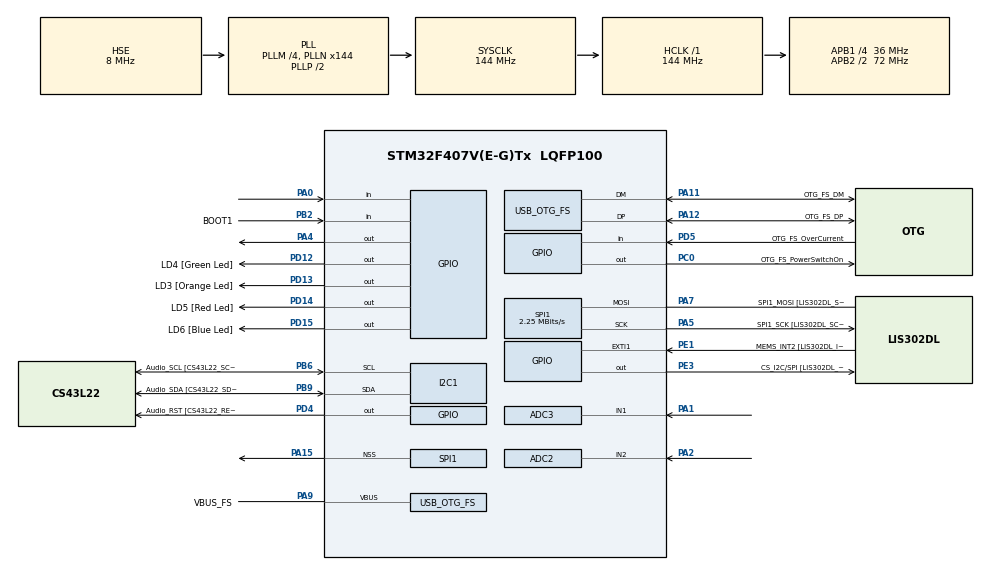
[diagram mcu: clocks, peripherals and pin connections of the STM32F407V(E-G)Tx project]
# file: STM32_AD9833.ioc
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ADC2.Channel-1\#ChannelRegularConversion=ADC_CHANNEL_2
ADC2.DMAContinuousRequests=ENABLE
ADC2.ExternalTrigConv=ADC_EXTERNALTRIGCONV_T8_CC1
ADC2.NbrOfConversionFlag=1
ADC2.Rank-1\#ChannelRegularConversion=1
ADC2.SamplingTime-1\#ChannelRegularConversion=ADC_SAMPLETIME_3CYCLES
ADC3.Channel-1\#ChannelRegularConversion=ADC_CHANNEL_1
ADC3.DMAContinuousRequests=ENABLE
ADC3.ExternalTrigConv=ADC_EXTERNALTRIGCONV_T1_CC1
ADC3.NbrOfConversionFlag=1
ADC3.Rank-1\#ChannelRegularConversion=1
ADC3.SamplingTime-1\#ChannelRegularConversion=ADC_SAMPLETIME_3CYCLES
Dma.ADC2.0.Direction=DMA_PERIPH_TO_MEMORY
Dma.ADC2.0.FIFOMode=DMA_FIFOMODE_DISABLE
Dma.ADC2.0.Instance=DMA2_Stream2
Dma.ADC2.0.MemDataAlignment=DMA_MDATAALIGN_HALFWORD
Dma.ADC2.0.MemInc=DMA_MINC_ENABLE
Dma.ADC2.0.Mode=DMA_NORMAL
Dma.ADC2.0.PeriphDataAlignment=DMA_PDATAALIGN_HALFWORD
Dma.ADC2.0.PeriphInc=DMA_PINC_DISABLE
Dma.ADC2.0.Priority=DMA_PRIORITY_VERY_HIGH
Dma.ADC3.1.Direction=DMA_PERIPH_TO_MEMORY
Dma.ADC3.1.FIFOMode=DMA_FIFOMODE_DISABLE
Dma.ADC3.1.Instance=DMA2_Stream0
Dma.ADC3.1.MemDataAlignment=DMA_MDATAALIGN_HALFWORD
Dma.ADC3.1.MemInc=DMA_MINC_ENABLE
Dma.ADC3.1.Mode=DMA_NORMAL
Dma.ADC3.1.PeriphDataAlignment=DMA_PDATAALIGN_HALFWORD
Dma.ADC3.1.PeriphInc=DMA_PINC_DISABLE
Dma.ADC3.1.Priority=DMA_PRIORITY_VERY_HIGH
Dma.Request0=ADC2
Dma.Request1=ADC3
Mcu.Family=STM32F4
Mcu.Name=STM32F407V(E-G)Tx
Mcu.Package=LQFP100
NVIC.DMA2_Stream0_IRQn=true\:0\:0\:false\:false\:true\:false\:true\:true
NVIC.DMA2_Stream2_IRQn=true\:0\:0\:false\:false\:true\:false\:true\:true
NVIC.OTG_FS_IRQn=true\:0\:0\:false\:false\:true\:true\:true\:true
NVIC.PriorityGroup=NVIC_PRIORITYGROUP_0
PA0-WKUP.GPIO_PuPd=GPIO_PULLDOWN
PA0-WKUP.Signal=GPIO_Input
PA1.Signal=ADCx_IN1
PA10.GPIO_Label=OTG_FS_ID
PA10.GPIO_Mode=GPIO_MODE_AF_PP
PA10.GPIO_PuPd=GPIO_NOPULL
PA10.GPIO_Speed=GPIO_SPEED_FREQ_LOW
PA10.Signal=USB_OTG_FS_ID
PA11.GPIO_Label=OTG_FS_DM
PA11.GPIO_Mode=GPIO_MODE_AF_PP
PA11.GPIO_PuPd=GPIO_NOPULL
PA11.GPIO_Speed=GPIO_SPEED_FREQ_LOW
PA11.Mode=Device_Only
PA11.Signal=USB_OTG_FS_DM
PA12.GPIO_Label=OTG_FS_DP
PA12.GPIO_Mode=GPIO_MODE_AF_PP
PA12.GPIO_PuPd=GPIO_NOPULL
PA12.GPIO_Speed=GPIO_SPEED_FREQ_LOW
PA12.Mode=Device_Only
PA12.Signal=USB_OTG_FS_DP
PA13.GPIO_Label=SWDIO
PA13.Mode=Serial_Wire
PA13.Signal=SYS_JTMS-SWDIO
PA14.GPIO_Label=SWCLK
PA14.Mode=Serial_Wire
PA14.Signal=SYS_JTCK-SWCLK
PA15.GPIO_PuPd=GPIO_PULLUP
PA15.Mode=NSS_Signal_Hard_Output
PA15.Signal=SPI1_NSS
PA2.Signal=ADCx_IN2
PA4.Signal=GPIO_Output
PA5.GPIO_Label=SPI1_SCK [LIS302DL_SCL/SPC]
PA5.GPIO_Mode=GPIO_MODE_AF_PP
PA5.GPIO_PuPd=GPIO_PULLUP
PA5.GPIO_Speed=GPIO_SPEED_FREQ_VERY_HIGH
PA5.Mode=Simplex_Bidirectional_Master
PA5.Signal=SPI1_SCK
PA6.Signal=SPI1_MISO
PA7.GPIO_Label=SPI1_MOSI [LIS302DL_SDA/SDI/SDO]
PA7.GPIO_Mode=GPIO_MODE_AF_PP
PA7.GPIO_PuPd=GPIO_PULLUP
PA7.GPIO_Speed=GPIO_SPEED_FREQ_VERY_HIGH
PA7.Mode=Simplex_Bidirectional_Master
PA7.Signal=SPI1_MOSI
PA9.GPIO_Label=VBUS_FS
PA9.GPIO_Mode=GPIO_MODE_INPUT
PA9.GPIO_PuPd=GPIO_NOPULL
PA9.Mode=Activate_VBUS
PA9.Signal=USB_OTG_FS_VBUS
PB10.GPIO_Label=CLK_IN [MP45DT02_CLK]
PB10.GPIO_Mode=GPIO_MODE_AF_PP
PB10.GPIO_PuPd=GPIO_NOPULL
PB10.GPIO_Speed=GPIO_SPEED_FREQ_LOW
PB10.Signal=I2S2_CK
PB2.GPIO_Label=BOOT1
PB2.GPIO_Mode=GPIO_MODE_INPUT
PB2.GPIO_PuPd=GPIO_NOPULL
PB2.Signal=GPIO_Input
PB3.GPIO_Label=SWO
PB3.Signal=SYS_JTDO-SWO
PB6.GPIO_Label=Audio_SCL [CS43L22_SCL]
PB6.GPIO_Mode=GPIO_MODE_AF_OD
PB6.GPIO_Pu=GPIO_PULLUP
PB6.GPIO_PuPd=GPIO_NOPULL
PB6.GPIO_Speed=GPIO_SPEED_FREQ_LOW
PB6.Mode=I2C
PB6.Signal=I2C1_SCL
PB9.GPIO_Label=Audio_SDA [CS43L22_SDA]
PB9.GPIO_Mode=GPIO_MODE_AF_OD
PB9.GPIO_Pu=GPIO_PULLUP
PB9.GPIO_PuPd=GPIO_NOPULL
PB9.GPIO_Speed=GPIO_SPEED_FREQ_LOW
PB9.Mode=I2C
PB9.Signal=I2C1_SDA
PC0.GPIO_Label=OTG_FS_PowerSwitchOn
PC0.GPIO_PuPd=GPIO_NOPULL
PC0.GPIO_Speed=GPIO_SPEED_FREQ_LOW
PC0.PinState=GPIO_PIN_SET
PC0.Signal=GPIO_Output
PC10.GPIO_Label=I2S3_SCK [CS43L22_SCLK]
PC10.GPIO_Mode=GPIO_MODE_AF_PP
PC10.GPIO_PuPd=GPIO_NOPULL
PC10.GPIO_Speed=GPIO_SPEED_FREQ_LOW
PC10.Signal=I2S3_CK
PC12.GPIO_Label=I2S3_SD [CS43L22_SDIN]
PC12.GPIO_Mode=GPIO_MODE_AF_PP
PC12.GPIO_PuPd=GPIO_NOPULL
PC12.GPIO_Speed=GPIO_SPEED_FREQ_LOW
PC12.Signal=I2S3_SD
PC14-OSC32_IN.GPIO_Label=PC14-OSC32_IN
PC14-OSC32_IN.Mode=LSE-External-Oscillator
PC14-OSC32_IN.Signal=RCC_OSC32_IN
PC15-OSC32_OUT.GPIO_Label=PC15-OSC32_OUT
PC15-OSC32_OUT.Mode=LSE-External-Oscillator
PC15-OSC32_OUT.Signal=RCC_OSC32_OUT
PC3.GPIO_Label=PDM_OUT [MP45DT02_DOUT]
PC3.GPIO_Mode=GPIO_MODE_AF_PP
PC3.GPIO_PuPd=GPIO_NOPULL
PC3.GPIO_Speed=GPIO_SPEED_FREQ_LOW
PC3.Signal=I2S2_SD
PC7.GPIO_Label=I2S3_MCK [CS43L22_MCLK]
PC7.GPIO_Mode=GPIO_MODE_AF_PP
PC7.GPIO_PuPd=GPIO_NOPULL
PC7.GPIO_Speed=GPIO_SPEED_FREQ_LOW
PC7.Signal=I2S3_MCK
PD12.GPIO_Label=LD4 [Green Led]
PD12.GPIO_PuPd=GPIO_NOPULL
PD12.GPIO_Speed=GPIO_SPEED_FREQ_LOW
PD12.Signal=GPIO_Output
PD13.GPIO_Label=LD3 [Orange Led]
PD13.GPIO_PuPd=GPIO_NOPULL
PD13.GPIO_Speed=GPIO_SPEED_FREQ_LOW
PD13.Signal=GPIO_Output
PD14.GPIO_Label=LD5 [Red Led]
PD14.GPIO_PuPd=GPIO_NOPULL
PD14.GPIO_Speed=GPIO_SPEED_FREQ_LOW
PD14.Signal=GPIO_Output
PD15.GPIO_Label=LD6 [Blue Led]
PD15.GPIO_PuPd=GPIO_NOPULL
PD15.GPIO_Speed=GPIO_SPEED_FREQ_LOW
PD15.Signal=GPIO_Output
PD4.GPIO_Label=Audio_RST [CS43L22_RESET]
PD4.GPIO_PuPd=GPIO_NOPULL
PD4.GPIO_Speed=GPIO_SPEED_FREQ_LOW
PD4.Signal=GPIO_Output
PD5.GPIO_Label=OTG_FS_OverCurrent
PD5.GPIO_Mode=GPIO_MODE_INPUT
PD5.GPIO_PuPd=GPIO_NOPULL
PD5.Signal=GPIO_Input
PE1.GPIO_Label=MEMS_INT2 [LIS302DL_INT2]
PE1.GPIO_ModeDefaultEXTI=GPIO_MODE_EVT_RISING
PE1.GPIO_PuPd=GPIO_NOPULL
PE1.Signal=GPXTI1
PE3.GPIO_Label=CS_I2C/SPI [LIS302DL_CS_I2C/SPI]
PE3.GPIO_PuPd=GPIO_NOPULL
PE3.GPIO_Speed=GPIO_SPEED_FREQ_LOW
PE3.Signal=GPIO_Output
PH0-OSC_IN.GPIO_Label=PH0-OSC_IN
PH0-OSC_IN.Mode=HSE-External-Oscillator
PH0-OSC_IN.Signal=RCC_OSC_IN
PH1-OSC_OUT.GPIO_Label=PH1-OSC_OUT
PH1-OSC_OUT.Mode=HSE-External-Oscillator
PH1-OSC_OUT.Signal=RCC_OSC_OUT
ProjectManager.HeapSize=0x200
ProjectManager.StackSize=0x400
ProjectManager.TargetToolchain=STM32CubeIDE
RCC.48MHZClocksFreq_Value=48000000
RCC.AHBFreq_Value=144000000
RCC.APB1CLKDivider=RCC_HCLK_DIV4
RCC.APB1Freq_Value=36000000
RCC.APB1TimFreq_Value=72000000
RCC.APB2CLKDivider=RCC_HCLK_DIV2
RCC.APB2Freq_Value=72000000
RCC.APB2TimFreq_Value=144000000
RCC.CortexFreq_Value=144000000
RCC.DATA_CACHE_ENABLE=0
RCC.HCLKFreq_Value=144000000
RCC.HSE_VALUE=8000000
RCC.HSI_VALUE=16000000
RCC.PLLM=4
RCC.PLLN=144
RCC.PLLQ=6
RCC.SYSCLKFreq_VALUE=144000000
RCC.SYSCLKSource=RCC_SYSCLKSOURCE_PLLCLK
RCC.VCOOutputFreq_Value=288000000
SH.ADCx_IN1.0=ADC3_IN1,IN1
SH.ADCx_IN2.0=ADC2_IN2,IN2
SPI1.BaudRatePrescaler=SPI_BAUDRATEPRESCALER_32
SPI1.CLKPhase=SPI_PHASE_1EDGE
SPI1.CLKPolarity=SPI_POLARITY_HIGH
SPI1.CalculateBaudRate=2.25 MBits/s
SPI1.DataSize=SPI_DATASIZE_16BIT
SPI1.Direction=SPI_DIRECTION_1LINE
SPI1.Mode=SPI_MODE_MASTER
SPI1.VirtualNSS=VM_NSSHARD
SPI1.VirtualType=VM_MASTER
TIM1.Channel-PWM\ Generation1\ No\ Output=TIM_CHANNEL_1
TIM1.Pulse-PWM\ Generation1\ No\ Output=1
TIM1.TIM_MasterOutputTrigger=TIM_TRGO_OC1REF
TIM8.Channel-PWM\ Generation1\ No\ Output=TIM_CHANNEL_1
TIM8.Pulse-PWM\ Generation1\ No\ Output=1
TIM8.TIM_MasterOutputTrigger=TIM_TRGO_OC1REF
USB_DEVICE.CLASS_NAME_FS=CDC
USB_DEVICE.VirtualMode-CDC_FS=Cdc
USB_DEVICE.VirtualModeFS=Cdc_FS
USB_OTG_FS.VirtualMode=Device_Only
VP_TIM1_VS_no_output1.Mode=PWM Generation1 No Output
VP_TIM8_VS_no_output1.Mode=PWM Generation1 No Output
VP_USB_DEVICE_VS_USB_DEVICE_CDC_FS.Mode=CDC_FS
board=STM32F407G-DISC1

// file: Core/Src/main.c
/* USER CODE BEGIN Header */
/**
  ******************************************************************************
  * @file           : main.c
  * @brief          : Main program body
  ******************************************************************************
  * @attention
  *
  * Copyright (c) 2026 STMicroelectronics.
  * All rights reserved.
  *
  * This software is licensed under terms that can be found in the LICENSE file
  * in the root directory of this software component.
  * If no LICENSE file comes with this software, it is provided AS-IS.
  *
  ******************************************************************************
  */
/* USER CODE END Header */
#include "main.h"
#include "usb_device.h"

/* USER CODE BEGIN Includes */
#include "AD9833.h"
#include <stdbool.h>
#include <string.h>
#include "usbd_cdc_if.h"
#include <math.h>
#include "stm32_protocol.h"
/* USER CODE END Includes */

ADC_HandleTypeDef hadc2;
ADC_HandleTypeDef hadc3;
DMA_HandleTypeDef hdma_adc2;
DMA_HandleTypeDef hdma_adc3;

I2C_HandleTypeDef hi2c1;

SPI_HandleTypeDef hspi1;

TIM_HandleTypeDef htim1;
TIM_HandleTypeDef htim8;

/* USER CODE BEGIN PV */
uint16_t adcBuffer[ADC_BUFFER_SIZE];
__attribute__((section(".ccmram"))) float adcFloatBuffer[ADC_BUFFER_SIZE];

// Filtre girişinden alınan ölçümler
//uint16_t adcVinBuffer[ADC_BUFFER_SIZE];
//__attribute__((section(".ccmram"))) float adcFloatVin[ADC_BUFFER_SIZE];

static volatile bool isAdcVinCmplt = false;
static volatile bool isAdcError = false;

// Filtre çıkışından alınan ölçümler
//uint16_t adcVoutBuffer[ADC_BUFFER_SIZE];
//__attribute__((section(".ccmram"))) float adcFloatVout[ADC_BUFFER_SIZE];
static volatile bool isAdcVoutCmplt = false;

float vinRms = 0;
float voutRms = 0;

bool isVinRmsReady = false;
bool isVoutRmsReady = false;

/* USER CODE END PV */

void SystemClock_Config(void);
static void MX_GPIO_Init(void);
static void MX_DMA_Init(void);
static void MX_I2C1_Init(void);
static void MX_SPI1_Init(void);
static void MX_ADC2_Init(void);
static void MX_TIM1_Init(void);
static void MX_TIM8_Init(void);
static void MX_ADC3_Init(void);
/* USER CODE BEGIN PFP */
static float CalculateRms(float *pData, uint32_t size);
static void StopMeasurement(void);
/* USER CODE END PFP */

int main(void)
{

  /* MCU Configuration--------------------------------------------------------*/

  /* Reset of all peripherals, Initializes the Flash interface and the Systick. */
  HAL_Init();

  /* Configure the system clock */
  SystemClock_Config();

  /* Initialize all configured peripherals */
  MX_GPIO_Init();
  MX_DMA_Init();
  MX_I2C1_Init();
  MX_SPI1_Init();
  MX_USB_DEVICE_Init();
  MX_ADC2_Init();
  MX_TIM1_Init();
  MX_TIM8_Init();
  MX_ADC3_Init();
  /* USER CODE BEGIN 2 */
  AD9833_Init(SINE_WAVE);
  /* USER CODE END 2 */

  /* Infinite loop */
  /* USER CODE BEGIN WHILE */

  while (1)
  {
	  proto_process();

	  if(isAdcVinCmplt){
		  HAL_GPIO_TogglePin(LD5_GPIO_Port, LD5_Pin);
		  for(uint32_t i = 0; i < ADC_BUFFER_SIZE; i++){
			  adcFloatBuffer[i] = adcBuffer[i];
		  }
		  vinRms = CalculateRms(adcFloatBuffer, ADC_BUFFER_SIZE);
		  isVinRmsReady = true;
		  isAdcVinCmplt = false;
		  HAL_Delay(100);
		  HAL_ADC_Start_DMA(&hadc2, (uint32_t*)adcBuffer, ADC_BUFFER_SIZE);
		  HAL_TIM_PWM_Start(&htim8, TIM_CHANNEL_1);
	  }

	  if(isAdcVoutCmplt){
		  HAL_GPIO_TogglePin(LD4_GPIO_Port, LD4_Pin);
		  for(uint32_t i = 0; i < ADC_BUFFER_SIZE; i++){
			  adcFloatBuffer[i] = adcBuffer[i];
		  }
		  voutRms = CalculateRms(adcFloatBuffer, ADC_BUFFER_SIZE);
		  isVoutRmsReady = true;
		  isAdcVoutCmplt = false;
		  HAL_Delay(100);
	  }

	  if(isVinRmsReady && isVoutRmsReady){
		  proto_send_results(vinRms, voutRms);
		  isVinRmsReady = false;
		  isVoutRmsReady = false;
		  vinRms = 0;
		  voutRms = 0;
	  }

    /* USER CODE END WHILE */

  }
}

void SystemClock_Config(void)
{
  RCC_OscInitTypeDef RCC_OscInitStruct = {0};
  RCC_ClkInitTypeDef RCC_ClkInitStruct = {0};

  /** Configure the main internal regulator output voltage
  */
  __HAL_RCC_PWR_CLK_ENABLE();
  __HAL_PWR_VOLTAGESCALING_CONFIG(PWR_REGULATOR_VOLTAGE_SCALE1);

  /** Initializes the RCC Oscillators according to the specified parameters
  * in the RCC_OscInitTypeDef structure.
  */
  RCC_OscInitStruct.OscillatorType = RCC_OSCILLATORTYPE_HSE;
  RCC_OscInitStruct.HSEState = RCC_HSE_ON;
  RCC_OscInitStruct.PLL.PLLState = RCC_PLL_ON;
  RCC_OscInitStruct.PLL.PLLSource = RCC_PLLSOURCE_HSE;
  RCC_OscInitStruct.PLL.PLLM = 4;
  RCC_OscInitStruct.PLL.PLLN = 144;
  RCC_OscInitStruct.PLL.PLLP = RCC_PLLP_DIV2;
  RCC_OscInitStruct.PLL.PLLQ = 6;
  if (HAL_RCC_OscConfig(&RCC_OscInitStruct) != HAL_OK)
  {
    Error_Handler();
  }

  /** Initializes the CPU, AHB and APB buses clocks
  */
  RCC_ClkInitStruct.ClockType = RCC_CLOCKTYPE_HCLK|RCC_CLOCKTYPE_SYSCLK
                              |RCC_CLOCKTYPE_PCLK1|RCC_CLOCKTYPE_PCLK2;
  RCC_ClkInitStruct.SYSCLKSource = RCC_SYSCLKSOURCE_PLLCLK;
  RCC_ClkInitStruct.AHBCLKDivider = RCC_SYSCLK_DIV1;
  RCC_ClkInitStruct.APB1CLKDivider = RCC_HCLK_DIV4;
  RCC_ClkInitStruct.APB2CLKDivider = RCC_HCLK_DIV2;

  if (HAL_RCC_ClockConfig(&RCC_ClkInitStruct, FLASH_LATENCY_4) != HAL_OK)
  {
    Error_Handler();
  }
}

static void MX_ADC2_Init(void)
{

  ADC_ChannelConfTypeDef sConfig = {0};

  /** Configure the global features of the ADC (Clock, Resolution, Data Alignment and number of conversion)
  */
  hadc2.Instance = ADC2;
  hadc2.Init.ClockPrescaler = ADC_CLOCK_SYNC_PCLK_DIV2;
  hadc2.Init.Resolution = ADC_RESOLUTION_12B;
  hadc2.Init.ScanConvMode = DISABLE;
  hadc2.Init.ContinuousConvMode = DISABLE;
  hadc2.Init.DiscontinuousConvMode = DISABLE;
  hadc2.Init.ExternalTrigConvEdge = ADC_EXTERNALTRIGCONVEDGE_RISING;
  hadc2.Init.ExternalTrigConv = ADC_EXTERNALTRIGCONV_T8_CC1;
  hadc2.Init.DataAlign = ADC_DATAALIGN_RIGHT;
  hadc2.Init.NbrOfConversion = 1;
  hadc2.Init.DMAContinuousRequests = ENABLE;
  hadc2.Init.EOCSelection = ADC_EOC_SINGLE_CONV;
  if (HAL_ADC_Init(&hadc2) != HAL_OK)
  {
    Error_Handler();
  }

  /** Configure for the selected ADC regular channel its corresponding rank in the sequencer and its sample time.
  */
  sConfig.Channel = ADC_CHANNEL_2;
  sConfig.Rank = 1;
  sConfig.SamplingTime = ADC_SAMPLETIME_3CYCLES;
  if (HAL_ADC_ConfigChannel(&hadc2, &sConfig) != HAL_OK)
  {
    Error_Handler();
  }

}

static void MX_ADC3_Init(void)
{

  ADC_ChannelConfTypeDef sConfig = {0};

  /** Configure the global features of the ADC (Clock, Resolution, Data Alignment and number of conversion)
  */
  hadc3.Instance = ADC3;
  hadc3.Init.ClockPrescaler = ADC_CLOCK_SYNC_PCLK_DIV2;
  hadc3.Init.Resolution = ADC_RESOLUTION_12B;
  hadc3.Init.ScanConvMode = DISABLE;
  hadc3.Init.ContinuousConvMode = DISABLE;
  hadc3.Init.DiscontinuousConvMode = DISABLE;
  hadc3.Init.ExternalTrigConvEdge = ADC_EXTERNALTRIGCONVEDGE_RISING;
  hadc3.Init.ExternalTrigConv = ADC_EXTERNALTRIGCONV_T1_CC1;
  hadc3.Init.DataAlign = ADC_DATAALIGN_RIGHT;
  hadc3.Init.NbrOfConversion = 1;
  hadc3.Init.DMAContinuousRequests = ENABLE;
  hadc3.Init.EOCSelection = ADC_EOC_SINGLE_CONV;
  if (HAL_ADC_Init(&hadc3) != HAL_OK)
  {
    Error_Handler();
  }

  /** Configure for the selected ADC regular channel its corresponding rank in the sequencer and its sample time.
  */
  sConfig.Channel = ADC_CHANNEL_1;
  sConfig.Rank = 1;
  sConfig.SamplingTime = ADC_SAMPLETIME_3CYCLES;
  if (HAL_ADC_ConfigChannel(&hadc3, &sConfig) != HAL_OK)
  {
    Error_Handler();
  }

}

static void MX_I2C1_Init(void)
{

  hi2c1.Instance = I2C1;
  hi2c1.Init.ClockSpeed = 100000;
  hi2c1.Init.DutyCycle = I2C_DUTYCYCLE_2;
  hi2c1.Init.OwnAddress1 = 0;
  hi2c1.Init.AddressingMode = I2C_ADDRESSINGMODE_7BIT;
  hi2c1.Init.DualAddressMode = I2C_DUALADDRESS_DISABLE;
  hi2c1.Init.OwnAddress2 = 0;
  hi2c1.Init.GeneralCallMode = I2C_GENERALCALL_DISABLE;
  hi2c1.Init.NoStretchMode = I2C_NOSTRETCH_DISABLE;
  if (HAL_I2C_Init(&hi2c1) != HAL_OK)
  {
    Error_Handler();
  }

}

static void MX_SPI1_Init(void)
{

  /* SPI1 parameter configuration*/
  hspi1.Instance = SPI1;
  hspi1.Init.Mode = SPI_MODE_MASTER;
  hspi1.Init.Direction = SPI_DIRECTION_1LINE;
  hspi1.Init.DataSize = SPI_DATASIZE_16BIT;
  hspi1.Init.CLKPolarity = SPI_POLARITY_HIGH;
  hspi1.Init.CLKPhase = SPI_PHASE_1EDGE;
  hspi1.Init.NSS = SPI_NSS_HARD_OUTPUT;
  hspi1.Init.BaudRatePrescaler = SPI_BAUDRATEPRESCALER_32;
  hspi1.Init.FirstBit = SPI_FIRSTBIT_MSB;
  hspi1.Init.TIMode = SPI_TIMODE_DISABLE;
  hspi1.Init.CRCCalculation = SPI_CRCCALCULATION_DISABLE;
  hspi1.Init.CRCPolynomial = 10;
  if (HAL_SPI_Init(&hspi1) != HAL_OK)
  {
    Error_Handler();
  }

}

static void MX_TIM1_Init(void)
{

  TIM_MasterConfigTypeDef sMasterConfig = {0};
  TIM_OC_InitTypeDef sConfigOC = {0};
  TIM_BreakDeadTimeConfigTypeDef sBreakDeadTimeConfig = {0};

  htim1.Instance = TIM1;
  htim1.Init.Prescaler = 0;
  htim1.Init.CounterMode = TIM_COUNTERMODE_UP;
  htim1.Init.Period = 65535;
  htim1.Init.ClockDivision = TIM_CLOCKDIVISION_DIV1;
  htim1.Init.RepetitionCounter = 0;
  htim1.Init.AutoReloadPreload = TIM_AUTORELOAD_PRELOAD_DISABLE;
  if (HAL_TIM_PWM_Init(&htim1) != HAL_OK)
  {
    Error_Handler();
  }
  sMasterConfig.MasterOutputTrigger = TIM_TRGO_OC1REF;
  sMasterConfig.MasterSlaveMode = TIM_MASTERSLAVEMODE_DISABLE;
  if (HAL_TIMEx_MasterConfigSynchronization(&htim1, &sMasterConfig) != HAL_OK)
  {
    Error_Handler();
  }
  sConfigOC.OCMode = TIM_OCMODE_PWM1;
  sConfigOC.Pulse = 1;
  sConfigOC.OCPolarity = TIM_OCPOLARITY_HIGH;
  sConfigOC.OCNPolarity = TIM_OCNPOLARITY_HIGH;
  sConfigOC.OCFastMode = TIM_OCFAST_DISABLE;
  sConfigOC.OCIdleState = TIM_OCIDLESTATE_RESET;
  sConfigOC.OCNIdleState = TIM_OCNIDLESTATE_RESET;
  if (HAL_TIM_PWM_ConfigChannel(&htim1, &sConfigOC, TIM_CHANNEL_1) != HAL_OK)
  {
    Error_Handler();
  }
  sBreakDeadTimeConfig.OffStateRunMode = TIM_OSSR_DISABLE;
  sBreakDeadTimeConfig.OffStateIDLEMode = TIM_OSSI_DISABLE;
  sBreakDeadTimeConfig.LockLevel = TIM_LOCKLEVEL_OFF;
  sBreakDeadTimeConfig.DeadTime = 0;
  sBreakDeadTimeConfig.BreakState = TIM_BREAK_DISABLE;
  sBreakDeadTimeConfig.BreakPolarity = TIM_BREAKPOLARITY_HIGH;
  sBreakDeadTimeConfig.AutomaticOutput = TIM_AUTOMATICOUTPUT_DISABLE;
  if (HAL_TIMEx_ConfigBreakDeadTime(&htim1, &sBreakDeadTimeConfig) != HAL_OK)
  {
    Error_Handler();
  }

}

static void MX_TIM8_Init(void)
{

  TIM_MasterConfigTypeDef sMasterConfig = {0};
  TIM_OC_InitTypeDef sConfigOC = {0};
  TIM_BreakDeadTimeConfigTypeDef sBreakDeadTimeConfig = {0};

  htim8.Instance = TIM8;
  htim8.Init.Prescaler = 0;
  htim8.Init.CounterMode = TIM_COUNTERMODE_UP;
  htim8.Init.Period = 65535;
  htim8.Init.ClockDivision = TIM_CLOCKDIVISION_DIV1;
  htim8.Init.RepetitionCounter = 0;
  htim8.Init.AutoReloadPreload = TIM_AUTORELOAD_PRELOAD_DISABLE;
  if (HAL_TIM_PWM_Init(&htim8) != HAL_OK)
  {
    Error_Handler();
  }
  sMasterConfig.MasterOutputTrigger = TIM_TRGO_OC1REF;
  sMasterConfig.MasterSlaveMode = TIM_MASTERSLAVEMODE_DISABLE;
  if (HAL_TIMEx_MasterConfigSynchronization(&htim8, &sMasterConfig) != HAL_OK)
  {
    Error_Handler();
  }
  sConfigOC.OCMode = TIM_OCMODE_PWM1;
  sConfigOC.Pulse = 1;
  sConfigOC.OCPolarity = TIM_OCPOLARITY_HIGH;
  sConfigOC.OCNPolarity = TIM_OCNPOLARITY_HIGH;
  sConfigOC.OCFastMode = TIM_OCFAST_DISABLE;
  sConfigOC.OCIdleState = TIM_OCIDLESTATE_RESET;
  sConfigOC.OCNIdleState = TIM_OCNIDLESTATE_RESET;
  if (HAL_TIM_PWM_ConfigChannel(&htim8, &sConfigOC, TIM_CHANNEL_1) != HAL_OK)
  {
    Error_Handler();
  }
  sBreakDeadTimeConfig.OffStateRunMode = TIM_OSSR_DISABLE;
  sBreakDeadTimeConfig.OffStateIDLEMode = TIM_OSSI_DISABLE;
  sBreakDeadTimeConfig.LockLevel = TIM_LOCKLEVEL_OFF;
  sBreakDeadTimeConfig.DeadTime = 0;
  sBreakDeadTimeConfig.BreakState = TIM_BREAK_DISABLE;
  sBreakDeadTimeConfig.BreakPolarity = TIM_BREAKPOLARITY_HIGH;
  sBreakDeadTimeConfig.AutomaticOutput = TIM_AUTOMATICOUTPUT_DISABLE;
  if (HAL_TIMEx_ConfigBreakDeadTime(&htim8, &sBreakDeadTimeConfig) != HAL_OK)
  {
    Error_Handler();
  }

}

static void MX_DMA_Init(void)
{

  /* DMA controller clock enable */
  __HAL_RCC_DMA2_CLK_ENABLE();

  /* DMA interrupt init */
  /* DMA2_Stream0_IRQn interrupt configuration */
  HAL_NVIC_SetPriority(DMA2_Stream0_IRQn, 0, 0);
  HAL_NVIC_EnableIRQ(DMA2_Stream0_IRQn);
  /* DMA2_Stream2_IRQn interrupt configuration */
  HAL_NVIC_SetPriority(DMA2_Stream2_IRQn, 0, 0);
  HAL_NVIC_EnableIRQ(DMA2_Stream2_IRQn);

}

static void MX_GPIO_Init(void)
{
  GPIO_InitTypeDef GPIO_InitStruct = {0};

  /* GPIO Ports Clock Enable */
  __HAL_RCC_GPIOE_CLK_ENABLE();
  __HAL_RCC_GPIOC_CLK_ENABLE();
  __HAL_RCC_GPIOH_CLK_ENABLE();
  __HAL_RCC_GPIOA_CLK_ENABLE();
  __HAL_RCC_GPIOB_CLK_ENABLE();
  __HAL_RCC_GPIOD_CLK_ENABLE();

  /*Configure GPIO pin Output Level */
  HAL_GPIO_WritePin(CS_I2C_SPI_GPIO_Port, CS_I2C_SPI_Pin, GPIO_PIN_RESET);

  /*Configure GPIO pin Output Level */
  HAL_GPIO_WritePin(OTG_FS_PowerSwitchOn_GPIO_Port, OTG_FS_PowerSwitchOn_Pin, GPIO_PIN_SET);

  /*Configure GPIO pin Output Level */
  HAL_GPIO_WritePin(GPIOA, GPIO_PIN_4, GPIO_PIN_RESET);

  /*Configure GPIO pin Output Level */
  HAL_GPIO_WritePin(GPIOD, LD4_Pin|LD3_Pin|LD5_Pin|LD6_Pin
                          |Audio_RST_Pin, GPIO_PIN_RESET);

  /*Configure GPIO pin : CS_I2C_SPI_Pin */
  GPIO_InitStruct.Pin = CS_I2C_SPI_Pin;
  GPIO_InitStruct.Mode = GPIO_MODE_OUTPUT_PP;
  GPIO_InitStruct.Pull = GPIO_NOPULL;
  GPIO_InitStruct.Speed = GPIO_SPEED_FREQ_LOW;
  HAL_GPIO_Init(CS_I2C_SPI_GPIO_Port, &GPIO_InitStruct);

  /*Configure GPIO pin : OTG_FS_PowerSwitchOn_Pin */
  GPIO_InitStruct.Pin = OTG_FS_PowerSwitchOn_Pin;
  GPIO_InitStruct.Mode = GPIO_MODE_OUTPUT_PP;
  GPIO_InitStruct.Pull = GPIO_NOPULL;
  GPIO_InitStruct.Speed = GPIO_SPEED_FREQ_LOW;
  HAL_GPIO_Init(OTG_FS_PowerSwitchOn_GPIO_Port, &GPIO_InitStruct);

  /*Configure GPIO pin : PDM_OUT_Pin */
  GPIO_InitStruct.Pin = PDM_OUT_Pin;
  GPIO_InitStruct.Mode = GPIO_MODE_AF_PP;
  GPIO_InitStruct.Pull = GPIO_NOPULL;
  GPIO_InitStruct.Speed = GPIO_SPEED_FREQ_LOW;
  GPIO_InitStruct.Alternate = GPIO_AF5_SPI2;
  HAL_GPIO_Init(PDM_OUT_GPIO_Port, &GPIO_InitStruct);

  /*Configure GPIO pin : PA0 */
  GPIO_InitStruct.Pin = GPIO_PIN_0;
  GPIO_InitStruct.Mode = GPIO_MODE_INPUT;
  GPIO_InitStruct.Pull = GPIO_PULLDOWN;
  HAL_GPIO_Init(GPIOA, &GPIO_InitStruct);

  /*Configure GPIO pin : PA4 */
  GPIO_InitStruct.Pin = GPIO_PIN_4;
  GPIO_InitStruct.Mode = GPIO_MODE_OUTPUT_PP;
  GPIO_InitStruct.Pull = GPIO_NOPULL;
  GPIO_InitStruct.Speed = GPIO_SPEED_FREQ_LOW;
  HAL_GPIO_Init(GPIOA, &GPIO_InitStruct);

  /*Configure GPIO pin : BOOT1_Pin */
  GPIO_InitStruct.Pin = BOOT1_Pin;
  GPIO_InitStruct.Mode = GPIO_MODE_INPUT;
  GPIO_InitStruct.Pull = GPIO_NOPULL;
  HAL_GPIO_Init(BOOT1_GPIO_Port, &GPIO_InitStruct);

  /*Configure GPIO pin : CLK_IN_Pin */
  GPIO_InitStruct.Pin = CLK_IN_Pin;
  GPIO_InitStruct.Mode = GPIO_MODE_AF_PP;
  GPIO_InitStruct.Pull = GPIO_NOPULL;
  GPIO_InitStruct.Speed = GPIO_SPEED_FREQ_LOW;
  GPIO_InitStruct.Alternate = GPIO_AF5_SPI2;
  HAL_GPIO_Init(CLK_IN_GPIO_Port, &GPIO_InitStruct);

  /*Configure GPIO pins : LD4_Pin LD3_Pin LD5_Pin LD6_Pin
                           Audio_RST_Pin */
  GPIO_InitStruct.Pin = LD4_Pin|LD3_Pin|LD5_Pin|LD6_Pin
                          |Audio_RST_Pin;
  GPIO_InitStruct.Mode = GPIO_MODE_OUTPUT_PP;
  GPIO_InitStruct.Pull = GPIO_NOPULL;
  GPIO_InitStruct.Speed = GPIO_SPEED_FREQ_LOW;
  HAL_GPIO_Init(GPIOD, &GPIO_InitStruct);

  /*Configure GPIO pins : I2S3_MCK_Pin I2S3_SCK_Pin I2S3_SD_Pin */
  GPIO_InitStruct.Pin = I2S3_MCK_Pin|I2S3_SCK_Pin|I2S3_SD_Pin;
  GPIO_InitStruct.Mode = GPIO_MODE_AF_PP;
  GPIO_InitStruct.Pull = GPIO_NOPULL;
  GPIO_InitStruct.Speed = GPIO_SPEED_FREQ_LOW;
  GPIO_InitStruct.Alternate = GPIO_AF6_SPI3;
  HAL_GPIO_Init(GPIOC, &GPIO_InitStruct);

  /*Configure GPIO pin : OTG_FS_OverCurrent_Pin */
  GPIO_InitStruct.Pin = OTG_FS_OverCurrent_Pin;
  GPIO_InitStruct.Mode = GPIO_MODE_INPUT;
  GPIO_InitStruct.Pull = GPIO_NOPULL;
  HAL_GPIO_Init(OTG_FS_OverCurrent_GPIO_Port, &GPIO_InitStruct);

  /*Configure GPIO pin : MEMS_INT2_Pin */
  GPIO_InitStruct.Pin = MEMS_INT2_Pin;
  GPIO_InitStruct.Mode = GPIO_MODE_EVT_RISING;
  GPIO_InitStruct.Pull = GPIO_NOPULL;
  HAL_GPIO_Init(MEMS_INT2_GPIO_Port, &GPIO_InitStruct);

}

/* USER CODE BEGIN 4 */
static float CalculateRms(float *pData, uint32_t size){
    float mean = 0.0f;
    float sum = 0.0f;
    float sizeF = size;

    // Calculate DC offset
    for(uint32_t i = 0; i < size; i++)
    {
        mean += pData[i];
    }

    mean /= sizeF;

    // Calculate RMS
    for(uint32_t i = 0; i < size; i++)
    {
        float v = pData[i] - mean;
        sum += (v * v);
    }

    return (sqrtf(sum / sizeF) * 0.7326f);
}

static void StopMeasurement(){
	HAL_TIM_Base_Stop(&htim1);
	HAL_TIM_Base_Stop(&htim8);
	HAL_ADC_Stop_DMA(&hadc3);
	HAL_ADC_Stop_DMA(&hadc2);
	__HAL_ADC_CLEAR_FLAG(&hadc3, ADC_FLAG_EOC | ADC_FLAG_OVR);
	__HAL_DMA_CLEAR_FLAG(&hdma_adc3, DMA_FLAG_TCIF0_4 | DMA_FLAG_HTIF0_4 | DMA_FLAG_TEIF0_4 | DMA_FLAG_DMEIF0_4 | DMA_FLAG_FEIF0_4);
	__HAL_ADC_CLEAR_FLAG(&hadc2, ADC_FLAG_EOC | ADC_FLAG_OVR);
	__HAL_DMA_CLEAR_FLAG(&hdma_adc2, DMA_FLAG_TCIF0_4 | DMA_FLAG_HTIF0_4 | DMA_FLAG_TEIF0_4 | DMA_FLAG_DMEIF0_4 | DMA_FLAG_FEIF0_4);
}

void HAL_ADC_ConvCpltCallback(ADC_HandleTypeDef *hadc){
	if(hadc == &hadc3){
		isAdcVinCmplt = true;
		HAL_TIM_Base_Stop(&htim1);
		HAL_ADC_Stop_DMA(&hadc3);
	}else if(hadc == &hadc2){
		isAdcVoutCmplt = true;
		HAL_TIM_Base_Stop(&htim8);
		HAL_ADC_Stop_DMA(&hadc2);
	}
}

void HAL_ADC_ErrorCallback(ADC_HandleTypeDef *hadc){
	isAdcError = true;
}
/* USER CODE END 4 */

void Error_Handler(void)
{
  __disable_irq();
  while (1)
  {
  }
}
